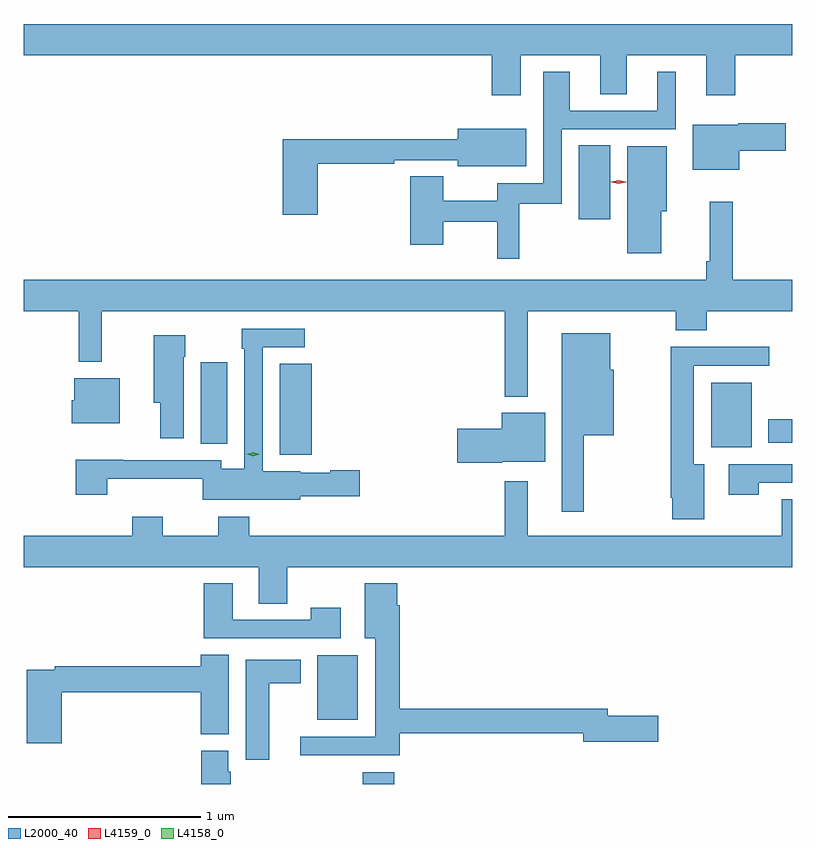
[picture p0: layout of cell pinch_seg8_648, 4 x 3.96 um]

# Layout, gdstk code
import gdstk
lib = gdstk.Library(unit=1e-6, precision=1e-09)
def R(c, l, rs):  # rectangles x0, y0, x1, y1
    for r in rs: c.add(gdstk.rectangle(r[:2], r[2:], *l))
def P(c, l, *ps):  # polygons
    for p in ps: c.add(gdstk.Polygon(p, *l))
L2000_40 = (2000, 40)
L4158_0 = (4158, 0)
L4159_0 = (4159, 0)

pinch_seg8_648 = lib.new_cell('pinch_seg8_648')
R(pinch_seg8_648, L2000_40, [(265.871,1111.374,266.036,1111.435), (265.634,1111.709,265.846,1112.044), (265.439,1113.089,265.606,1113.563), (267.686,1113.128,267.898,1113.463), (265.028,1113.145,265.165,1113.571), (267.983,1113.152,268.107,1113.274), (266.996,1114.316,267.16,1114.7)])
P(pinch_seg8_648, L2000_40, [(266.695,1115.168),(267.107,1115.168),(267.107,1114.966),(267.247,1114.966),(267.247,1115.168),(267.659,1115.168),(267.659,1114.962),(267.812,1114.962),(267.812,1115.168),(268.107,1115.168),(268.107,1115.332),(264.107,1115.332),(264.107,1115.168),(266.543,1115.168),(266.543,1114.962),(266.695,1114.962)],
  [(266.686,1114.395),(266.907,1114.395),(266.907,1114.785),(267.502,1114.785),(267.502,1115.083),(267.404,1115.083),(267.404,1114.881),(266.95,1114.881),(266.95,1115.083),(266.811,1115.083),(266.811,1114.503),(266.572,1114.503),(266.572,1114.412),(266.29,1114.412),(266.29,1114.538),(266.12,1114.538),(266.12,1114.182),(266.29,1114.182),(266.29,1114.302),(266.572,1114.302),(266.572,1114.11),(266.686,1114.11)],
  [(267.832,1114.673),(268.075,1114.673),(268.075,1114.815),(267.828,1114.815),(267.828,1114.807),(267.59,1114.807),(267.59,1114.574),(267.832,1114.574)],
  [(265.637,1114.603),(266.036,1114.603),(266.036,1114.623),(266.366,1114.623),(266.366,1114.592),(266.722,1114.592),(266.722,1114.786),(266.366,1114.786),(266.366,1114.732),(265.454,1114.732),(265.454,1114.338),(265.637,1114.338)],
  [(267.427,1114.356),(267.454,1114.356),(267.454,1114.696),(267.248,1114.696),(267.248,1114.139),(267.427,1114.139)],
  [(266.731,1113.836),(267.502,1113.836),(267.502,1113.737),(267.662,1113.737),(267.662,1113.836),(268.107,1113.836),(268.107,1114),(267.797,1114),(267.797,1114.405),(267.679,1114.405),(267.679,1114.096),(267.661,1114.096),(267.661,1114),(264.107,1114),(264.107,1113.836),(264.391,1113.836),(264.391,1113.573),(264.512,1113.573),(264.512,1113.836),(266.61,1113.836),(266.61,1113.392),(266.731,1113.392)],
  [(265.545,1112.873),(265.855,1112.873),(265.855,1113.008),(265.702,1113.008),(265.702,1112.995),(265.545,1112.995),(265.545,1113.004),(265.35,1113.004),(265.35,1113.648),(265.57,1113.648),(265.57,1113.744),(265.242,1113.744),(265.242,1113.641),(265.254,1113.641),(265.254,1113.016),(265.134,1113.016),(265.134,1113.06),(264.625,1113.06),(264.625,1113.062),(264.377,1113.062),(264.377,1112.88),(264.542,1112.88),(264.542,1112.963),(265.038,1112.963),(265.038,1112.855),(265.545,1112.855)],
  [(267.023,1113.191),(267.178,1113.191),(267.178,1113.531),(267.16,1113.531),(267.16,1113.721),(266.909,1113.721),(266.909,1112.793),(267.023,1112.793)],
  [(264.94,1113.599),(264.948,1113.599),(264.948,1113.712),(264.782,1113.712),(264.782,1113.359),(264.818,1113.359),(264.818,1113.174),(264.94,1113.174)],
  [(267.649,1113.04),(267.595,1113.04),(267.595,1113.552),(267.988,1113.552),(267.988,1113.65),(267.475,1113.65),(267.475,1112.866),(267.482,1112.866),(267.482,1112.754),(267.649,1112.754)],
  [(264.607,1113.487),(264.368,1113.487),(264.368,1113.372),(264.356,1113.372),(264.356,1113.254),(264.607,1113.254)],
  [(266.598,1113.053),(266.821,1113.053),(266.821,1113.307),(266.594,1113.307),(266.594,1113.224),(266.364,1113.224),(266.364,1113.046),(266.598,1113.046)],
  [(267.933,1112.943),(268.107,1112.943),(268.107,1113.039),(267.777,1113.039),(267.777,1112.88),(267.933,1112.88)],
  [(265.479,1112.504),(268.107,1112.504),(268.107,1112.858),(268.054,1112.858),(268.054,1112.668),(266.731,1112.668),(266.731,1112.95),(266.61,1112.95),(266.61,1112.668),(265.28,1112.668),(265.28,1112.767),(265.12,1112.767),(265.12,1112.668),(264.831,1112.668),(264.831,1112.767),(264.671,1112.767),(264.671,1112.668),(264.107,1112.668),(264.107,1112.504),(265.331,1112.504),(265.331,1112.314),(265.479,1112.314)],
  [(266.063,1111.638),(267.02,1111.638),(267.02,1111.595),(267.409,1111.595),(267.409,1111.73),(267.148,1111.73),(267.148,1111.766),(266.063,1111.766),(266.063,1112.306),(266.05,1112.306),(266.05,1112.419),(265.883,1112.419),(265.883,1112.132),(265.937,1112.132),(265.937,1111.62),(265.545,1111.62),(265.545,1111.523),(266.063,1111.523)],
  [(265.756,1112.293),(265.6,1112.293),(265.6,1112.229),(265.195,1112.229),(265.195,1112.419),(265.043,1112.419),(265.043,1112.133),(265.756,1112.133)],
  [(264.305,1111.852),(265.028,1111.852),(265.028,1111.633),(265.174,1111.633),(265.174,1112.048),(265.028,1112.048),(265.028,1111.988),(264.268,1111.988),(264.268,1111.968),(264.122,1111.968),(264.122,1111.587),(264.305,1111.587)],
  [(265.384,1111.898),(265.549,1111.898),(265.549,1112.02),(265.262,1112.02),(265.262,1111.5),(265.384,1111.5)],
  [(265.184,1111.437),(265.171,1111.437),(265.171,1111.548),(265.031,1111.548),(265.031,1111.374),(265.184,1111.374)])
P(pinch_seg8_648, L4158_0, [(265.302,1113.081),(265.267,1113.091),(265.267,1113.091),(265.267,1113.092),(265.302,1113.101),(265.336,1113.092),(265.336,1113.091),(265.336,1113.091)])
P(pinch_seg8_648, L4159_0, [(267.204,1114.499),(267.165,1114.509),(267.165,1114.509),(267.165,1114.51),(267.204,1114.519),(267.242,1114.51),(267.243,1114.509),(267.242,1114.509)])

lib.write_gds('pinch_seg8_648.gds')
